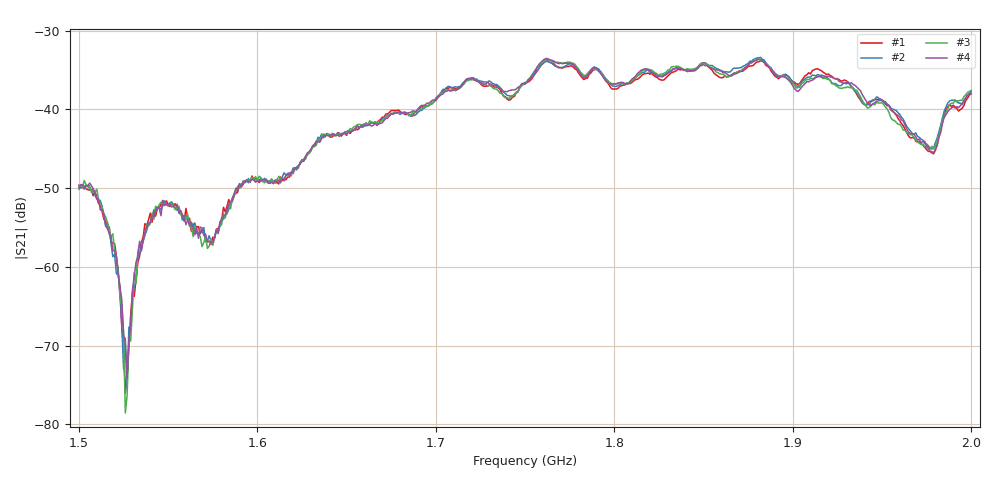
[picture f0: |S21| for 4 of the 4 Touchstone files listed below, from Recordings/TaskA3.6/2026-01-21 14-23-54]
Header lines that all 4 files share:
! NanoVNA-App by SYSJOINT et al v1.1.209 (+OD18)
! Start: 1,5GHz Stop: 2GHz Points: 501
! S-Parameter data: F S11 S21 S12 S22
# Hz S RI R 50
!  Frequency  S11_Real  S11_Imag  S21_Real  S21_Imag  S12_Real  S12_Imag  S22_Real  S22_Imag
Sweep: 1.5 GHz to 2 GHz
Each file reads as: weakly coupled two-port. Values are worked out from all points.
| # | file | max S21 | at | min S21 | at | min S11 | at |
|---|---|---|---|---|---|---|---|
| 1 | 0.s2p | -33.84 dB | 1.763 GHz | -76.0 dB | 1.526 GHz | -29.4 dB | 1.817 GHz |
| 2 | 1.s2p | -33.38 dB | 1.882 GHz | -75.4 dB | 1.527 GHz | -30.2 dB | 1.816 GHz |
| 3 | 2.s2p | -33.57 dB | 1.881 GHz | -78.6 dB | 1.526 GHz | -29.8 dB | 1.816 GHz |
| 4 | 3.s2p | -33.53 dB | 1.762 GHz | -74.2 dB | 1.527 GHz | -29.3 dB | 1.816 GHz |
